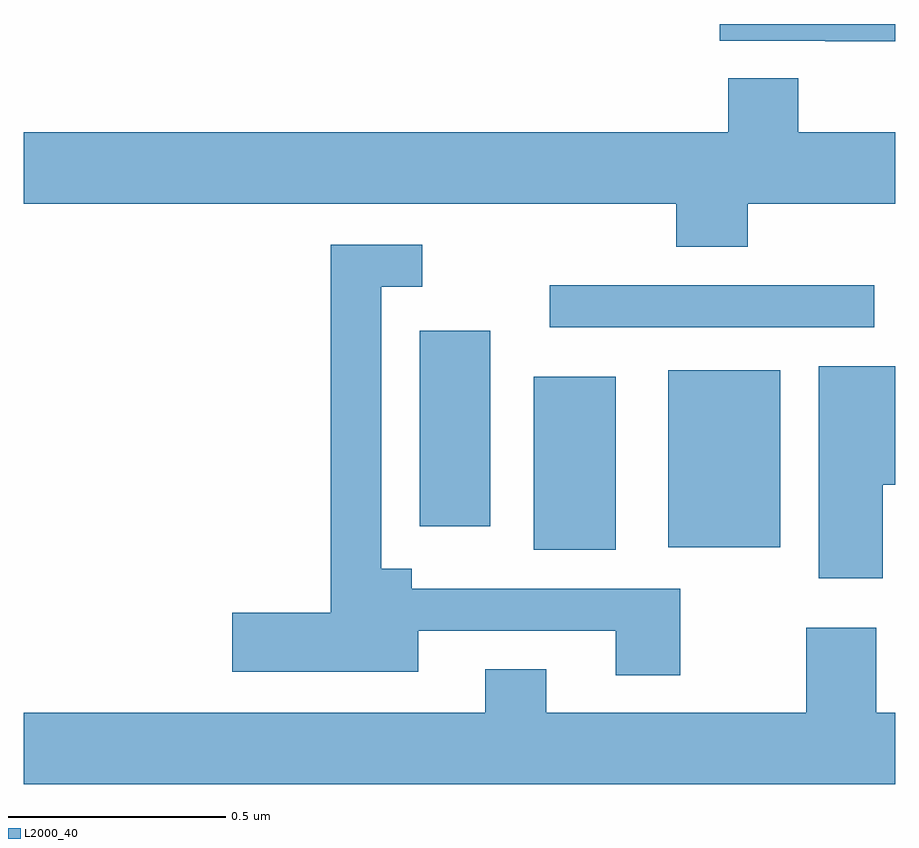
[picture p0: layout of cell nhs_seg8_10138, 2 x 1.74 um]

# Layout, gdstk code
import gdstk
lib = gdstk.Library(unit=1e-6, precision=1e-09)
def R(c, l, rs):  # rectangles x0, y0, x1, y1
    for r in rs: c.add(gdstk.rectangle(r[:2], r[2:], *l))
def P(c, l, *ps):  # polygons
    for p in ps: c.add(gdstk.Polygon(p, *l))
L2000_40 = (2000, 40)

nhs_seg8_10138 = lib.new_cell('nhs_seg8_10138')
R(nhs_seg8_10138, L2000_40, [(246.17,1127.693,246.358,1128.091), (246.479,1127.699,246.736,1128.106), (245.909,1127.748,246.07,1128.196), (246.207,1128.204,246.952,1128.3)])
P(nhs_seg8_10138, L2000_40, [(247,1128.9),(246.597,1128.9),(246.597,1128.861),(246.839,1128.861),(246.839,1128.86),(247,1128.86)],
  [(246.662,1128.488),(247,1128.488),(247,1128.652),(246.777,1128.652),(246.777,1128.776),(246.617,1128.776),(246.617,1128.652),(245,1128.652),(245,1128.488),(246.497,1128.488),(246.497,1128.389),(246.662,1128.389)],
  [(246.507,1127.604),(245.89,1127.604),(245.89,1127.65),(245.82,1127.65),(245.82,1128.297),(245.914,1128.297),(245.914,1128.393),(245.704,1128.393),(245.704,1127.549),(245.478,1127.549),(245.478,1127.414),(245.905,1127.414),(245.905,1127.508),(246.359,1127.508),(246.359,1127.406),(246.507,1127.406)],
  [(246.971,1127.843),(247,1127.843),(247,1128.115),(246.824,1128.115),(246.824,1127.628),(246.971,1127.628)],
  [(246.796,1127.515),(246.796,1127.32),(246.199,1127.32),(246.199,1127.419),(246.059,1127.419),(246.059,1127.32),(245,1127.32),(245,1127.156),(247,1127.156),(247,1127.32),(246.956,1127.32),(246.956,1127.515)])

lib.write_gds('nhs_seg8_10138.gds')
